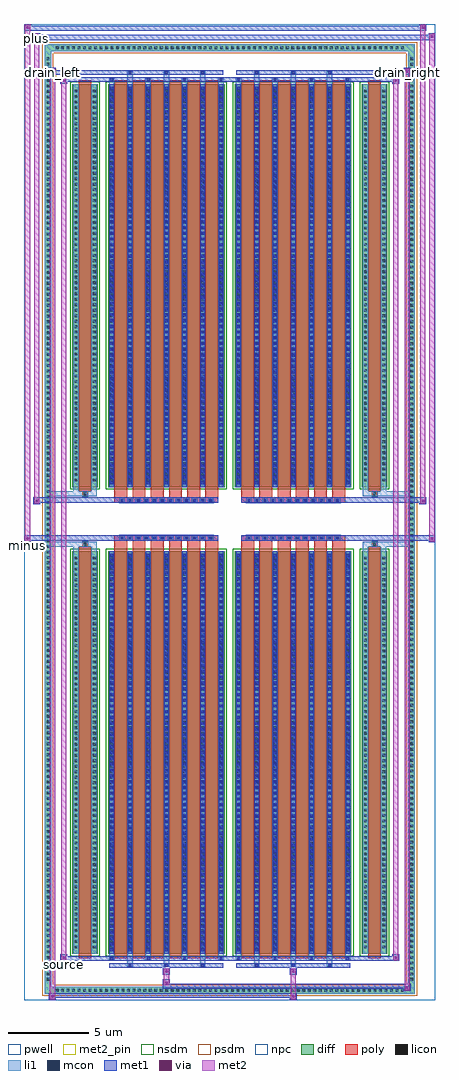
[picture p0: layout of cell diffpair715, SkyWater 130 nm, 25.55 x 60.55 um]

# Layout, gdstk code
import gdstk
lib = gdstk.Library(unit=1e-6, precision=5e-09)
def R(c, l, rs):  # rectangles x0, y0, x1, y1
    for r in rs: c.add(gdstk.rectangle(r[:2], r[2:], *l))
def A(c, l, x, y, w, h, nx, ny, dx, dy):  # array of equal rectangles
    R(c, l, [(x+i*dx, y+j*dy, x+i*dx+w, y+j*dy+h) for i in range(nx) for j in range(ny)])
def P(c, l, *ps):  # polygons
    for p in ps: c.add(gdstk.Polygon(p, *l))
pwell = (64, 44)
diff = (65, 20)
poly = (66, 20)
licon = (66, 44)
li1 = (67, 20)
mcon = (67, 44)
met1 = (68, 20)
via = (68, 44)
met2_pin = (69, 16)
met2 = (69, 20)
nsdm = (93, 44)
psdm = (94, 20)
npc = (95, 20)

diffpair715 = lib.new_cell('diffpair715')
R(diffpair715, pwell, [(-12.76,-29.84,12.76,30.71), (-10.08,-28.03,-0.01,-0.805), (0.01,-28.03,10.08,-0.805), (-10.08,0.805,-0.01,28.03), (0.01,0.805,10.08,28.03)])
A(diffpair715, diff, -10.915, -29.44, 0.41, 0.41, 64, 2, 0.34, 58.47)
A(diffpair715, diff, -11.49, -28.765, 0.41, 0.41, 1, 169, 0, 0.34)
A(diffpair715, diff, 11.08, -28.765, 0.41, 0.41, 1, 169, 0, 0.34)
R(diffpair715, diff, [(-10.915,-29.44,10.915,-29.03), (-11.49,-28.765,-11.08,28.765), (11.08,-28.765,11.49,28.765), (-9.77,-26.985,-8.19,-1.985), (-7.55,-26.985,-0.32,-1.985), (0.32,-26.985,7.55,-1.985), (8.19,-26.985,9.77,-1.985), (-9.77,1.985,-8.19,26.985), (-7.55,1.985,-0.32,26.985), (0.32,1.985,7.55,26.985), (8.19,1.985,9.77,26.985), (-10.915,29.03,10.915,29.44)])
P(diffpair715, diff, [(11.49,29.44),(-11.49,29.44),(-11.49,-29.03),(-11.08,-29.03),(-11.08,29.03),(11.08,29.03),(11.08,-29.03),(-11.08,-29.03),(-11.49,-29.03),(-11.49,-29.44),(11.49,-29.44)])
A(diffpair715, poly, -7.16, -27.235, 0.8, 25.5, 6, 2, 1.13, 28.97)
A(diffpair715, poly, 0.71, -27.235, 0.8, 25.5, 6, 2, 1.13, 28.97)
A(diffpair715, poly, -7.16, -1.735, 0.8, 0.4, 6, 2, 1.13, 3.07)
A(diffpair715, poly, 0.71, -1.735, 0.8, 0.4, 6, 2, 1.13, 3.07)
A(diffpair715, poly, -6.85, -1.335, 0.33, 0.33, 12, 2, 0.5, 2.34)
A(diffpair715, poly, 1.02, -1.335, 0.33, 0.33, 12, 2, 0.5, 2.34)
R(diffpair715, poly, [(-9.38,-27.235,-8.58,-1.735), (8.58,-27.235,9.38,-1.735), (-9.145,-1.735,-8.815,-1.405), (-9.145,-1.735,-8.815,-1.405), (8.815,-1.735,9.145,-1.405), (8.815,-1.735,9.145,-1.405), (-7.16,-1.335,-0.71,-1.005), (0.71,-1.335,7.16,-1.005), (-7.16,1.005,-0.71,1.335), (0.71,1.005,7.16,1.335), (-9.145,1.405,-8.815,1.735), (-9.145,1.405,-8.815,1.735), (8.815,1.405,9.145,1.735), (8.815,1.405,9.145,1.735), (-9.38,1.735,-8.58,27.235), (8.58,1.735,9.38,27.235)])
A(diffpair715, licon, -10.795, -29.32, 0.17, 0.17, 64, 2, 0.34, 58.47)
A(diffpair715, licon, -11.37, -28.645, 0.17, 0.17, 1, 169, 0, 0.34)
A(diffpair715, licon, 11.2, -28.645, 0.17, 0.17, 1, 169, 0, 0.34)
A(diffpair715, licon, -9.63, -26.64, 0.17, 0.17, 1, 72, 0, 0.34)
A(diffpair715, licon, -8.5, -26.64, 0.17, 0.17, 1, 72, 0, 0.34)
A(diffpair715, licon, -7.41, -26.64, 0.17, 0.17, 7, 72, 1.13, 0.34)
A(diffpair715, licon, 0.46, -26.64, 0.17, 0.17, 7, 72, 1.13, 0.34)
A(diffpair715, licon, 8.33, -26.64, 0.17, 0.17, 1, 72, 0, 0.34)
A(diffpair715, licon, 9.46, -26.64, 0.17, 0.17, 1, 72, 0, 0.34)
A(diffpair715, licon, -6.77, -1.255, 0.17, 0.17, 12, 2, 0.5, 2.34)
A(diffpair715, licon, 1.1, -1.255, 0.17, 0.17, 12, 2, 0.5, 2.34)
A(diffpair715, licon, -9.63, 2.33, 0.17, 0.17, 1, 72, 0, 0.34)
A(diffpair715, licon, -8.5, 2.33, 0.17, 0.17, 1, 72, 0, 0.34)
A(diffpair715, licon, -7.41, 2.33, 0.17, 0.17, 7, 72, 1.13, 0.34)
A(diffpair715, licon, 0.46, 2.33, 0.17, 0.17, 7, 72, 1.13, 0.34)
A(diffpair715, licon, 8.33, 2.33, 0.17, 0.17, 1, 72, 0, 0.34)
A(diffpair715, licon, 9.46, 2.33, 0.17, 0.17, 1, 72, 0, 0.34)
R(diffpair715, licon, [(-9.065,-1.655,-8.895,-1.485), (8.895,-1.655,9.065,-1.485), (-9.065,1.485,-8.895,1.655), (8.895,1.485,9.065,1.655)])
A(diffpair715, li1, -10.875, -29.4, 0.33, 0.33, 64, 2, 0.34, 58.47)
A(diffpair715, li1, -11.45, -28.725, 0.33, 0.33, 1, 169, 0, 0.34)
A(diffpair715, li1, 11.12, -28.725, 0.33, 0.33, 1, 169, 0, 0.34)
A(diffpair715, li1, -6.36, -27.79, 0.33, 0.805, 3, 2, 2.26, 54.775)
A(diffpair715, li1, -6.28, -27.79, 0.17, 0.17, 3, 2, 2.26, 55.41)
A(diffpair715, li1, 1.51, -27.79, 0.33, 0.805, 3, 2, 2.26, 54.775)
A(diffpair715, li1, 1.59, -27.79, 0.17, 0.17, 3, 2, 2.26, 55.41)
A(diffpair715, li1, -7.49, -27.36, 0.33, 0.375, 4, 2, 2.26, 54.345)
A(diffpair715, li1, -7.41, -27.36, 0.17, 0.17, 4, 2, 2.26, 54.55)
A(diffpair715, li1, 0.38, -27.36, 0.33, 0.375, 4, 2, 2.26, 54.345)
A(diffpair715, li1, 0.46, -27.36, 0.17, 0.17, 4, 2, 2.26, 54.55)
A(diffpair715, li1, -7.49, -26.985, 0.33, 25, 7, 2, 1.13, 28.97)
A(diffpair715, li1, 0.38, -26.985, 0.33, 25, 7, 2, 1.13, 28.97)
A(diffpair715, li1, -7.41, -26.81, 0.17, 0.17, 7, 69, 1.13, 0.36)
A(diffpair715, li1, -7.41, -26.81, 0.17, 24.65, 7, 2, 1.13, 28.97)
A(diffpair715, li1, 0.46, -26.81, 0.17, 0.17, 7, 69, 1.13, 0.36)
A(diffpair715, li1, 0.46, -26.81, 0.17, 24.65, 7, 2, 1.13, 28.97)
A(diffpair715, li1, -9.71, -26.72, 0.33, 0.33, 1, 72, 0, 0.34)
A(diffpair715, li1, -8.58, -26.72, 0.33, 0.33, 1, 72, 0, 0.34)
A(diffpair715, li1, -7.49, -26.72, 0.33, 0.33, 7, 72, 1.13, 0.34)
A(diffpair715, li1, 0.38, -26.72, 0.33, 0.33, 7, 72, 1.13, 0.34)
A(diffpair715, li1, 8.25, -26.72, 0.33, 0.33, 1, 72, 0, 0.34)
A(diffpair715, li1, 9.38, -26.72, 0.33, 0.33, 1, 72, 0, 0.34)
A(diffpair715, li1, -6.85, -1.335, 0.33, 0.33, 12, 2, 0.5, 2.34)
A(diffpair715, li1, 1.02, -1.335, 0.33, 0.33, 12, 2, 0.5, 2.34)
A(diffpair715, li1, -7.41, 2.16, 0.17, 0.17, 7, 69, 1.13, 0.36)
A(diffpair715, li1, 0.46, 2.16, 0.17, 0.17, 7, 69, 1.13, 0.36)
A(diffpair715, li1, -9.71, 2.25, 0.33, 0.33, 1, 72, 0, 0.34)
A(diffpair715, li1, -8.58, 2.25, 0.33, 0.33, 1, 72, 0, 0.34)
A(diffpair715, li1, -7.49, 2.25, 0.33, 0.33, 7, 72, 1.13, 0.34)
A(diffpair715, li1, 0.38, 2.25, 0.33, 0.33, 7, 72, 1.13, 0.34)
A(diffpair715, li1, 8.25, 2.25, 0.33, 0.33, 1, 72, 0, 0.34)
A(diffpair715, li1, 9.38, 2.25, 0.33, 0.33, 1, 72, 0, 0.34)
R(diffpair715, li1, [(-11.49,-29.44,-11.08,-29.03), (-11.49,-29.44,-11.08,-29.03), (-11.08,-29.44,11.08,-29.03), (11.08,-29.44,11.49,-29.03), (11.08,-29.44,11.49,-29.03), (-11.49,-29.03,-11.08,29.03), (11.08,-29.03,11.49,29.03), (-9.71,-26.985,-9.38,-1.985), (-8.58,-26.985,-8.25,-1.985), (8.25,-26.985,8.58,-1.985), (9.38,-26.985,9.71,-1.985), (-9.71,-1.985,-9.38,-1.405), (-8.58,-1.985,-8.25,-1.405), (8.25,-1.985,8.58,-1.405), (9.38,-1.985,9.71,-1.405), (-11.49,-1.735,-9.145,-1.405), (-9.71,-1.735,-9.145,-1.405), (-9.145,-1.735,-8.815,-1.405), (-8.815,-1.735,-8.25,-1.405), (8.25,-1.735,8.815,-1.405), (8.815,-1.735,9.145,-1.405), (8.815,-1.735,11.49,-1.405), (9.145,-1.735,9.71,-1.405), (-11.49,1.405,-9.145,1.735), (-9.71,1.405,-9.145,1.735), (-9.71,1.405,-9.38,1.985), (-9.145,1.405,-8.815,1.735), (-8.815,1.405,-8.25,1.735), (-8.58,1.405,-8.25,1.985), (8.25,1.405,8.815,1.735), (8.25,1.405,8.58,1.985), (8.815,1.405,9.145,1.735), (8.815,1.405,11.49,1.735), (9.145,1.405,9.71,1.735), (9.38,1.405,9.71,1.985), (-9.71,1.985,-9.38,26.985), (-8.58,1.985,-8.25,26.985), (8.25,1.985,8.58,26.985), (9.38,1.985,9.71,26.985), (-11.49,29.03,-11.08,29.44), (-11.49,29.03,-11.08,29.44), (-11.08,29.03,11.08,29.44), (11.08,29.03,11.49,29.44), (11.08,29.03,11.49,29.44)])
A(diffpair715, mcon, -6.28, -27.79, 0.17, 0.17, 3, 2, 2.26, 55.41)
A(diffpair715, mcon, 1.59, -27.79, 0.17, 0.17, 3, 2, 2.26, 55.41)
A(diffpair715, mcon, -7.41, -27.36, 0.17, 0.17, 4, 2, 2.26, 54.55)
A(diffpair715, mcon, 0.46, -27.36, 0.17, 0.17, 4, 2, 2.26, 54.55)
A(diffpair715, mcon, -7.41, -26.81, 0.17, 0.17, 7, 69, 1.13, 0.36)
A(diffpair715, mcon, 0.46, -26.81, 0.17, 0.17, 7, 69, 1.13, 0.36)
A(diffpair715, mcon, -6.77, -1.255, 0.17, 0.17, 12, 2, 0.5, 2.34)
A(diffpair715, mcon, 1.1, -1.255, 0.17, 0.17, 12, 2, 0.5, 2.34)
A(diffpair715, mcon, -7.41, 2.16, 0.17, 0.17, 7, 69, 1.13, 0.36)
A(diffpair715, mcon, 0.46, 2.16, 0.17, 0.17, 7, 69, 1.13, 0.36)
A(diffpair715, met1, -6.34, -27.85, 0.29, 0.29, 3, 2, 2.26, 55.41)
A(diffpair715, met1, 1.53, -27.85, 0.29, 0.29, 3, 2, 2.26, 55.41)
A(diffpair715, met1, -7.47, -27.42, 0.29, 0.29, 4, 2, 2.26, 54.55)
A(diffpair715, met1, 0.4, -27.42, 0.29, 0.29, 4, 2, 2.26, 54.55)
A(diffpair715, met1, -7.47, -26.985, 0.29, 25, 7, 2, 1.13, 28.97)
A(diffpair715, met1, 0.4, -26.985, 0.29, 25, 7, 2, 1.13, 28.97)
A(diffpair715, met1, -7.47, -26.87, 0.29, 0.29, 7, 69, 1.13, 0.36)
A(diffpair715, met1, 0.4, -26.87, 0.29, 0.29, 7, 69, 1.13, 0.36)
A(diffpair715, met1, -6.83, -1.315, 0.29, 0.29, 12, 2, 0.5, 2.34)
A(diffpair715, met1, 1.04, -1.315, 0.29, 0.29, 12, 2, 0.5, 2.34)
A(diffpair715, met1, -7.47, 2.1, 0.29, 0.29, 7, 69, 1.13, 0.36)
A(diffpair715, met1, 0.4, 2.1, 0.29, 0.29, 7, 69, 1.13, 0.36)
R(diffpair715, met1, [(-11.22,-29.84,-10.79,-29.41), (3.72,-29.84,4.15,-29.41), (-11.22,-29.7,4.15,-29.41), (10.79,-29.27,11.22,-28.84), (-4.15,-29.13,11.22,-28.84), (-4.15,-28.99,-3.72,-28.56), (-4.15,-28.28,-3.72,-27.85), (3.72,-28.28,4.15,-27.85), (-7.47,-27.85,-0.4,-27.56), (0.4,-27.85,7.47,-27.56), (-10.51,-27.42,-10.08,-26.99), (-10.51,-27.42,-7.47,-27.13), (-7.47,-27.42,-0.4,-27.13), (-0.4,-27.42,0.4,-27.13), (0.4,-27.42,7.47,-27.13), (7.47,-27.42,10.51,-27.13), (10.08,-27.42,10.51,-26.99), (-12.76,-1.435,-12.33,-1.005), (12.33,-1.435,12.76,-1.005), (-12.76,-1.335,-0.71,-1.005), (-7.16,-1.335,-0.71,-1.005), (0.71,-1.335,7.16,-1.005), (0.71,-1.335,12.76,-1.005), (-12.19,0.905,-11.76,1.335), (11.76,0.905,12.19,1.335), (-12.19,1.005,-7.16,1.335), (-7.16,1.005,-0.71,1.335), (0.71,1.005,7.16,1.335), (7.16,1.005,12.19,1.335), (-10.51,26.99,-10.08,27.42), (10.08,26.99,10.51,27.42), (-10.51,27.13,-7.47,27.42), (-7.47,27.13,-0.4,27.42), (-0.4,27.13,0.4,27.42), (0.4,27.13,7.47,27.42), (7.47,27.13,10.51,27.42), (-11.22,27.56,-10.79,27.99), (-11.22,27.56,-7.47,27.85), (-7.47,27.56,-0.4,27.85), (0.4,27.56,7.47,27.85), (7.47,27.56,11.22,27.85), (10.79,27.56,11.22,27.99), (-12.19,29.71,-11.76,30.14), (-12.19,29.71,-10.08,30.04), (-10.08,29.71,10.08,30.04), (10.08,29.71,12.76,30.04), (12.33,29.71,12.76,30.14), (-12.76,30.28,-12.33,30.71), (-12.76,30.28,-10.08,30.61), (-10.08,30.28,10.08,30.61), (10.08,30.28,12.19,30.61), (11.76,30.28,12.19,30.71)])
R(diffpair715, via, [(-11.08,-29.7,-10.93,-29.55), (3.86,-29.7,4.01,-29.55), (10.93,-29.13,11.08,-28.98), (-4.01,-28.85,-3.86,-28.7), (-4.01,-28.14,-3.86,-27.99), (3.86,-28.14,4.01,-27.99), (-10.37,-27.28,-10.22,-27.13), (10.22,-27.28,10.37,-27.13), (-12.62,-1.295,-12.47,-1.145), (12.47,-1.295,12.62,-1.145), (-12.05,1.045,-11.9,1.195), (11.9,1.045,12.05,1.195), (-10.37,27.13,-10.22,27.28), (10.22,27.13,10.37,27.28), (-11.08,27.7,-10.93,27.85), (10.93,27.7,11.08,27.85), (-12.05,29.85,-11.9,30), (12.47,29.85,12.62,30), (-12.62,30.42,-12.47,30.57), (11.9,30.42,12.05,30.57)])
R(diffpair715, met2_pin, [(-10.545,-27.87,-10.045,-27.37), (-12.795,-1.885,-12.295,-1.385), (-11.255,27.44,-10.755,27.94), (10.755,27.44,11.255,27.94), (-12.225,29.59,-11.725,30.09)])
R(diffpair715, met2, [(-11.17,-29.79,-10.84,-29.46), (-11.17,-29.79,-10.84,27.94), (3.77,-29.79,4.1,-29.46), (3.77,-29.46,4.1,-28.23), (10.84,-29.22,11.17,-28.89), (10.84,-29.22,11.17,27.94), (-4.1,-28.94,-3.77,-28.61), (-4.1,-28.61,-3.77,-28.23), (-4.1,-28.23,-3.77,-27.9), (3.77,-28.23,4.1,-27.9), (-10.46,-27.37,-10.13,-27.04), (-10.46,-27.37,-10.13,27.37), (10.13,-27.37,10.46,-27.04), (10.13,-27.37,10.46,27.37), (-12.71,-1.385,-12.38,-1.055), (-12.71,-1.385,-12.38,30.66), (12.38,-1.385,12.71,-1.055), (12.38,-1.385,12.71,30.09), (-12.14,0.955,-11.81,1.285), (-12.14,0.955,-11.81,30.09), (11.81,0.955,12.14,1.285), (11.81,0.955,12.14,30.66), (-10.46,27.04,-10.13,27.37), (10.13,27.04,10.46,27.37), (-11.17,27.61,-10.84,27.94), (10.84,27.61,11.17,27.94), (-12.14,29.76,-11.81,30.09), (12.38,29.76,12.71,30.09), (-12.71,30.33,-12.38,30.66), (11.81,30.33,12.14,30.66)])
P(diffpair715, met2, [(12.71,-1.385),(12.71,-1.385),(12.71,-1.055),(12.71,-1.055)],
  [(12.71,29.76),(12.71,29.76),(12.71,30.09),(12.71,30.09)],
  [(-12.38,-1.385),(-12.38,-1.385),(-12.38,-1.055),(-12.38,-1.055)],
  [(-12.38,30.33),(-12.38,30.33),(-12.38,30.66),(-12.38,30.66)],
  [(12.14,0.955),(12.14,0.955),(12.14,1.285),(12.14,1.285)],
  [(12.14,30.33),(12.14,30.33),(12.14,30.66),(12.14,30.66)],
  [(-11.81,0.955),(-11.81,0.955),(-11.81,1.285),(-11.81,1.285)],
  [(-11.81,29.76),(-11.81,29.76),(-11.81,30.09),(-11.81,30.09)],
  [(-10.84,-29.79),(-10.84,-29.79),(-10.84,-29.46),(-10.84,-29.46)],
  [(-10.84,27.61),(-10.84,27.61),(-10.84,27.94),(-10.84,27.94)],
  [(11.17,-29.22),(11.17,-29.22),(11.17,-28.89),(11.17,-28.89)],
  [(11.17,27.61),(11.17,27.61),(11.17,27.94),(11.17,27.94)],
  [(-10.13,-27.37),(-10.13,-27.37),(-10.13,-27.04),(-10.13,-27.04)],
  [(-10.13,27.04),(-10.13,27.04),(-10.13,27.37),(-10.13,27.37)],
  [(10.46,-27.37),(10.46,-27.37),(10.46,-27.04),(10.46,-27.04)],
  [(10.46,27.04),(10.46,27.04),(10.46,27.37),(10.46,27.37)])
R(diffpair715, nsdm, [(-9.9,-27.115,-8.06,-1.855), (-7.68,-27.115,-0.19,-1.855), (0.19,-27.115,7.68,-1.855), (8.06,-27.115,9.9,-1.855), (-9.9,1.855,-8.06,27.115), (-7.68,1.855,-0.19,27.115), (0.19,1.855,7.68,27.115), (8.06,1.855,9.9,27.115)])
P(diffpair715, psdm, [(11.62,29.57),(-11.62,29.57),(-11.62,-28.9),(-10.95,-28.9),(-10.95,28.9),(10.95,28.9),(10.95,-28.9),(-10.95,-28.9),(-11.62,-28.9),(-11.62,-29.57),(11.62,-29.57)])
A(diffpair715, npc, -6.87, -1.355, 0.37, 0.37, 12, 2, 0.5, 2.34)
A(diffpair715, npc, 1, -1.355, 0.37, 0.37, 12, 2, 0.5, 2.34)
R(diffpair715, npc, [(-9.165,-1.755,-8.795,-1.385), (8.795,-1.755,9.165,-1.385), (-6.87,-1.355,-6,-0.985), (-6.87,-1.355,-6,-0.985), (-6.37,-1.355,-5.5,-0.985), (-6.37,-1.355,-5.5,-0.985), (-5.87,-1.355,-5,-0.985), (-5.87,-1.355,-5,-0.985), (-5.37,-1.355,-4.5,-0.985), (-5.37,-1.355,-4.5,-0.985), (-4.87,-1.355,-4,-0.985), (-4.87,-1.355,-4,-0.985), (-4.37,-1.355,-3.5,-0.985), (-4.37,-1.355,-3.5,-0.985), (-3.87,-1.355,-3,-0.985), (-3.87,-1.355,-3,-0.985), (-3.37,-1.355,-2.5,-0.985), (-3.37,-1.355,-2.5,-0.985), (-2.87,-1.355,-2,-0.985), (-2.87,-1.355,-2,-0.985), (-2.37,-1.355,-1.5,-0.985), (-2.37,-1.355,-1.5,-0.985), (-1.87,-1.355,-1,-0.985), (-1.87,-1.355,-1,-0.985), (1,-1.355,1.87,-0.985), (1,-1.355,1.87,-0.985), (1.5,-1.355,2.37,-0.985), (1.5,-1.355,2.37,-0.985), (2,-1.355,2.87,-0.985), (2,-1.355,2.87,-0.985), (2.5,-1.355,3.37,-0.985), (2.5,-1.355,3.37,-0.985), (3,-1.355,3.87,-0.985), (3,-1.355,3.87,-0.985), (3.5,-1.355,4.37,-0.985), (3.5,-1.355,4.37,-0.985), (4,-1.355,4.87,-0.985), (4,-1.355,4.87,-0.985), (4.5,-1.355,5.37,-0.985), (4.5,-1.355,5.37,-0.985), (5,-1.355,5.87,-0.985), (5,-1.355,5.87,-0.985), (5.5,-1.355,6.37,-0.985), (5.5,-1.355,6.37,-0.985), (6,-1.355,6.87,-0.985), (6,-1.355,6.87,-0.985), (-6.87,0.985,-6,1.355), (-6.87,0.985,-6,1.355), (-6.37,0.985,-5.5,1.355), (-6.37,0.985,-5.5,1.355), (-5.87,0.985,-5,1.355), (-5.87,0.985,-5,1.355), (-5.37,0.985,-4.5,1.355), (-5.37,0.985,-4.5,1.355), (-4.87,0.985,-4,1.355), (-4.87,0.985,-4,1.355), (-4.37,0.985,-3.5,1.355), (-4.37,0.985,-3.5,1.355), (-3.87,0.985,-3,1.355), (-3.87,0.985,-3,1.355), (-3.37,0.985,-2.5,1.355), (-3.37,0.985,-2.5,1.355), (-2.87,0.985,-2,1.355), (-2.87,0.985,-2,1.355), (-2.37,0.985,-1.5,1.355), (-2.37,0.985,-1.5,1.355), (-1.87,0.985,-1,1.355), (-1.87,0.985,-1,1.355), (1,0.985,1.87,1.355), (1,0.985,1.87,1.355), (1.5,0.985,2.37,1.355), (1.5,0.985,2.37,1.355), (2,0.985,2.87,1.355), (2,0.985,2.87,1.355), (2.5,0.985,3.37,1.355), (2.5,0.985,3.37,1.355), (3,0.985,3.87,1.355), (3,0.985,3.87,1.355), (3.5,0.985,4.37,1.355), (3.5,0.985,4.37,1.355), (4,0.985,4.87,1.355), (4,0.985,4.87,1.355), (4.5,0.985,5.37,1.355), (4.5,0.985,5.37,1.355), (5,0.985,5.87,1.355), (5,0.985,5.87,1.355), (5.5,0.985,6.37,1.355), (5.5,0.985,6.37,1.355), (6,0.985,6.87,1.355), (6,0.985,6.87,1.355), (-9.165,1.385,-8.795,1.755), (8.795,1.385,9.165,1.755)])
diffpair715.add(gdstk.Label('minus', (-12.545,-1.635), layer=69, texttype=5))
diffpair715.add(gdstk.Label('drain_right', (11.005,27.69), layer=69, texttype=5))
diffpair715.add(gdstk.Label('drain_left', (-11.005,27.69), layer=69, texttype=5))
diffpair715.add(gdstk.Label('source', (-10.295,-27.62), layer=69, texttype=5))
diffpair715.add(gdstk.Label('plus', (-11.975,29.84), layer=69, texttype=5))

lib.write_gds('diffpair715.gds')
